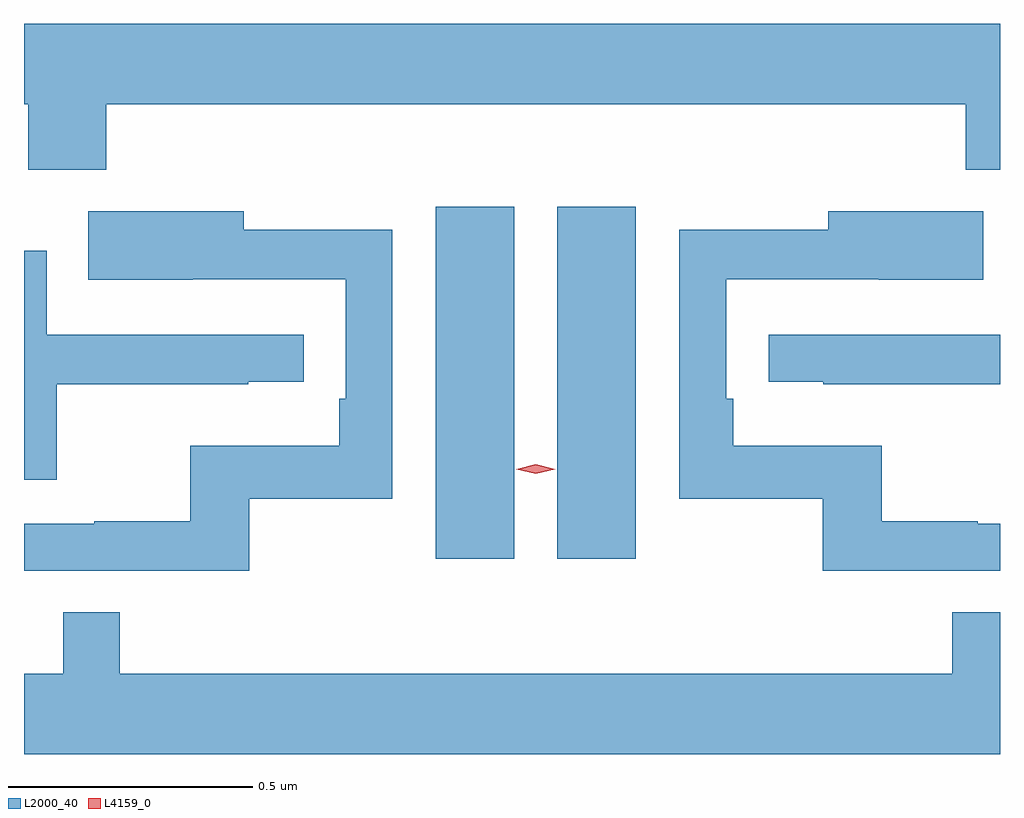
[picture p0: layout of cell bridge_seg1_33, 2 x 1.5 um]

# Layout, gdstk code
import gdstk
lib = gdstk.Library(unit=1e-6, precision=1e-09)
def R(c, l, rs):  # rectangles x0, y0, x1, y1
    for r in rs: c.add(gdstk.rectangle(r[:2], r[2:], *l))
def P(c, l, *ps):  # polygons
    for p in ps: c.add(gdstk.Polygon(p, *l))
L2000_40 = (2000, 40)
L4159_0 = (4159, 0)

bridge_seg1_33 = lib.new_cell('bridge_seg1_33')
R(bridge_seg1_33, L2000_40, [(1067.315,538.812,1067.476,539.533), (1067.564,538.812,1067.725,539.533)])
P(bridge_seg1_33, L2000_40, [(1066.64,539.744),(1068.401,539.744),(1068.401,539.609),(1068.471,539.609),(1068.471,539.908),(1066.471,539.908),(1066.471,539.744),(1066.48,539.744),(1066.48,539.609),(1066.64,539.609)],
  [(1068.471,538.884),(1068.425,538.884),(1068.425,538.889),(1068.229,538.889),(1068.229,539.044),(1067.924,539.044),(1067.924,539.14),(1067.91,539.14),(1067.91,539.385),(1068.223,539.385),(1068.223,539.384),(1068.437,539.384),(1068.437,539.524),(1068.119,539.524),(1068.119,539.486),(1067.814,539.486),(1067.814,538.935),(1068.108,538.935),(1068.108,538.788),(1068.471,538.788)],
  [(1066.933,538.935),(1067.226,538.935),(1067.226,539.486),(1066.921,539.486),(1066.921,539.524),(1066.603,539.524),(1066.603,539.384),(1066.817,539.384),(1066.817,539.385),(1067.13,539.385),(1067.13,539.14),(1067.117,539.14),(1067.117,539.044),(1066.812,539.044),(1066.812,538.889),(1066.615,538.889),(1066.615,538.884),(1066.471,538.884),(1066.471,538.788),(1066.933,538.788)],
  [(1066.538,539.17),(1066.931,539.17),(1066.931,539.175),(1067.044,539.175),(1067.044,539.271),(1066.518,539.271),(1066.518,539.443),(1066.471,539.443),(1066.471,538.974),(1066.538,538.974)],
  [(1068.471,539.271),(1067.997,539.271),(1067.997,539.175),(1068.109,539.175),(1068.109,539.17),(1068.471,539.17)],
  [(1068.471,538.703),(1068.373,538.703),(1068.373,538.576),(1066.667,538.576),(1066.667,538.703),(1066.551,538.703),(1066.551,538.576),(1066.471,538.576),(1066.471,538.412),(1068.471,538.412)])
P(bridge_seg1_33, L4159_0, [(1067.52,538.986),(1067.48,538.996),(1067.48,538.996),(1067.48,538.996),(1067.52,539.006),(1067.56,538.996),(1067.56,538.996),(1067.56,538.996)])

lib.write_gds('bridge_seg1_33.gds')
